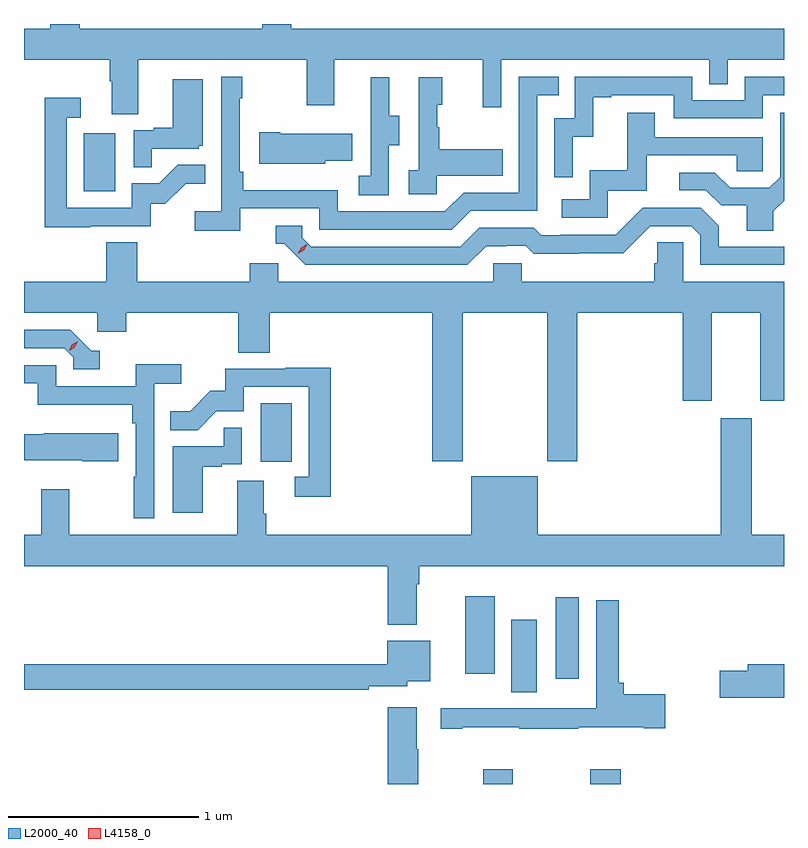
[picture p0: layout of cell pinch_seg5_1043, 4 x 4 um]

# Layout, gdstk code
import gdstk
lib = gdstk.Library(unit=1e-6, precision=1e-09)
def R(c, l, rs):  # rectangles x0, y0, x1, y1
    for r in rs: c.add(gdstk.rectangle(r[:2], r[2:], *l))
def P(c, l, *ps):  # polygons
    for p in ps: c.add(gdstk.Polygon(p, *l))
L2000_40 = (2000, 40)
L4158_0 = (4158, 0)

pinch_seg5_1043 = lib.new_cell('pinch_seg5_1043')
R(pinch_seg5_1043, L2000_40, [(870.496,863.605,870.651,863.683), (871.06,863.605,871.22,863.683), (870.644,864.088,870.778,864.469), (870.878,864.159,871,864.589), (870.401,864.186,870.556,864.592), (869.324,865.302,869.488,865.609), (868.394,866.724,868.558,867.031)])
P(pinch_seg5_1043, L2000_40, [(868.681,867.416),(869.566,867.416),(869.566,867.177),(869.713,867.177),(869.713,867.416),(870.494,867.416),(870.494,867.168),(870.591,867.168),(870.591,867.416),(871.686,867.416),(871.686,867.289),(871.782,867.289),(871.782,867.416),(872.079,867.416),(872.079,867.58),(869.486,867.58),(869.486,867.605),(869.333,867.605),(869.333,867.58),(868.373,867.58),(868.373,867.605),(868.217,867.605),(868.217,867.58),(868.079,867.58),(868.079,867.416),(868.529,867.416),(868.529,867.304),(868.541,867.304),(868.541,867.13),(868.681,867.13)],
  [(869.216,866.634),(869.634,866.634),(869.634,866.523),(870.331,866.523),(870.43,866.622),(870.78,866.622),(870.78,867.231),(870.893,867.231),(870.893,867.327),(870.684,867.327),(870.684,866.718),(870.393,866.718),(870.294,866.619),(869.73,866.619),(869.73,866.731),(869.234,866.731),(869.234,866.827),(869.214,866.827),(869.214,867.215),(869.227,867.215),(869.227,867.328),(869.118,867.328),(869.118,866.62),(868.977,866.62),(868.977,866.518),(869.216,866.518)],
  [(870.966,867.011),(871.076,867.011),(871.076,867.219),(871.171,867.219),(871.171,867.231),(871.5,867.231),(871.5,867.108),(871.968,867.108),(871.968,867.231),(872.079,867.231),(872.079,867.327),(871.872,867.327),(871.872,867.204),(871.596,867.204),(871.596,867.327),(870.978,867.327),(870.978,867.108),(870.87,867.108),(870.87,866.799),(870.966,866.799)],
  [(870,866.968),(870.055,866.968),(870.055,867.123),(870.001,867.123),(870.001,867.325),(869.903,867.325),(869.903,867.111),(869.904,867.111),(869.904,866.807),(869.841,866.807),(869.841,866.704),(870,866.704)],
  [(870.252,866.807),(870.599,866.807),(870.599,866.947),(870.265,866.947),(870.265,867.062),(870.255,867.062),(870.255,867.18),(870.28,867.18),(870.28,867.325),(870.156,867.325),(870.156,866.834),(870.105,866.834),(870.105,866.709),(870.252,866.709)],
  [(868.751,866.949),(868.998,866.949),(868.998,866.964),(869.02,866.964),(869.02,867.313),(868.862,867.313),(868.862,867.058),(868.763,867.058),(868.763,867.045),(868.656,867.045),(868.656,866.851),(868.751,866.851)],
  [(868.427,866.541),(868.746,866.541),(868.746,866.658),(868.822,866.658),(868.929,866.765),(869.033,866.765),(869.033,866.864),(868.889,866.864),(868.791,866.766),(868.647,866.766),(868.647,866.637),(868.305,866.637),(868.305,867.111),(868.378,867.111),(868.378,867.217),(868.189,867.217),(868.189,866.536),(868.427,866.536)],
  [(871.152,866.727),(871.357,866.727),(871.357,866.913),(871.831,866.913),(871.831,866.829),(871.968,866.829),(871.968,867.009),(871.399,867.009),(871.399,867.139),(871.255,867.139),(871.255,866.836),(871.056,866.836),(871.056,866.682),(870.909,866.682),(870.909,866.586),(871.152,866.586)],
  [(872.023,866.62),(872.079,866.676),(872.079,867.139),(872.058,867.139),(872.058,866.799),(872.001,866.742),(871.795,866.742),(871.714,866.823),(871.527,866.823),(871.527,866.73),(871.668,866.73),(871.748,866.65),(871.883,866.65),(871.883,866.518),(872.023,866.518)],
  [(869.664,866.885),(869.807,866.885),(869.807,867.028),(869.428,867.028),(869.428,867.036),(869.316,867.036),(869.316,866.87),(869.664,866.87)],
  [(870.511,866.436),(870.618,866.436),(870.618,866.439),(870.721,866.439),(870.763,866.397),(870.996,866.397),(870.996,866.399),(871.232,866.399),(871.374,866.541),(871.59,866.541),(871.638,866.493),(871.638,866.337),(872.079,866.337),(872.079,866.433),(871.735,866.433),(871.735,866.543),(871.641,866.637),(871.335,866.637),(871.194,866.496),(870.901,866.496),(870.901,866.493),(870.802,866.493),(870.763,866.532),(870.474,866.532),(870.375,866.433),(869.592,866.433),(869.544,866.481),(869.544,866.544),(869.405,866.544),(869.405,866.448),(869.448,866.448),(869.559,866.337),(870.412,866.337)],
  [(870.387,866.084),(870.832,866.084),(870.832,865.305),(870.992,865.305),(870.992,866.084),(871.547,866.084),(871.547,865.623),(871.699,865.623),(871.699,866.084),(871.955,866.084),(871.955,865.623),(872.079,865.623),(872.079,866.248),(871.548,866.248),(871.548,866.456),(871.411,866.456),(871.411,866.346),(871.397,866.346),(871.397,866.248),(870.699,866.248),(870.699,866.346),(870.549,866.346),(870.549,866.248),(869.418,866.248),(869.418,866.346),(869.267,866.346),(869.267,866.248),(868.676,866.248),(868.676,866.456),(868.511,866.456),(868.511,866.248),(868.079,866.248),(868.079,866.084),(868.464,866.084),(868.464,865.986),(868.616,865.986),(868.616,866.084),(869.207,866.084),(869.207,865.876),(869.372,865.876),(869.372,866.084),(870.227,866.084),(870.227,865.305),(870.387,865.305)],
  [(868.477,865.884),(868.434,865.884),(868.323,865.995),(868.079,865.995),(868.079,865.899),(868.29,865.899),(868.338,865.851),(868.338,865.788),(868.477,865.788)],
  [(868.764,865.712),(868.906,865.712),(868.906,865.814),(868.667,865.814),(868.667,865.698),(868.248,865.698),(868.248,865.809),(868.079,865.809),(868.079,865.713),(868.152,865.713),(868.152,865.601),(868.648,865.601),(868.648,865.505),(868.668,865.505),(868.668,865.223),(868.656,865.223),(868.656,865.005),(868.764,865.005)],
  [(869.693,865.796),(869.455,865.796),(869.455,865.791),(869.137,865.791),(869.137,865.674),(869.06,865.674),(868.953,865.567),(868.849,865.567),(868.849,865.468),(868.993,865.468),(869.091,865.566),(869.235,865.566),(869.235,865.695),(869.577,865.695),(869.577,865.221),(869.505,865.221),(869.505,865.116),(869.693,865.116)],
  [(870.145,864.656),(870.158,864.656),(870.158,864.752),(872.079,864.752),(872.079,864.916),(871.909,864.916),(871.909,865.531),(871.745,865.531),(871.745,864.916),(870.784,864.916),(870.784,865.225),(870.434,865.225),(870.434,864.916),(869.354,864.916),(869.354,865.028),(869.341,865.028),(869.341,865.202),(869.201,865.202),(869.201,864.916),(868.317,864.916),(868.317,865.156),(868.169,865.156),(868.169,864.916),(868.079,864.916),(868.079,864.752),(869.993,864.752),(869.993,864.443),(870.145,864.443)],
  [(869.02,865.275),(869.12,865.275),(869.12,865.287),(869.226,865.287),(869.226,865.481),(869.131,865.481),(869.131,865.383),(868.862,865.383),(868.862,865.032),(869.02,865.032)],
  [(868.576,865.45),(868.183,865.45),(868.183,865.447),(868.079,865.447),(868.079,865.31),(868.385,865.31),(868.385,865.303),(868.576,865.303)],
  [(870.385,863.905),(870.685,863.905),(870.685,863.895),(870.995,863.895),(870.995,863.905),(871.34,863.905),(871.34,863.899),(871.453,863.899),(871.453,864.077),(871.235,864.077),(871.235,864.139),(871.208,864.139),(871.208,864.571),(871.092,864.571),(871.092,864.004),(870.882,864.004),(870.882,864.003),(870.548,864.003),(870.548,864.005),(870.273,864.005),(870.273,863.895),(870.385,863.895)],
  [(869.894,864.12),(870.096,864.12),(870.096,864.146),(870.217,864.146),(870.217,864.358),(869.99,864.358),(869.99,864.236),(868.079,864.236),(868.079,864.1),(869.894,864.1)],
  [(872.079,864.236),(871.889,864.236),(871.889,864.2),(871.74,864.2),(871.74,864.058),(872.079,864.058)],
  [(870.153,863.789),(870.145,863.789),(870.145,864.01),(869.993,864.01),(869.993,863.605),(870.153,863.605)])
P(pinch_seg5_1043, L4158_0, [(869.521,866.395),(869.521,866.395),(869.537,866.428),(869.568,866.446),(869.569,866.446),(869.569,866.446),(869.552,866.414),(869.521,866.395)],
  [(868.316,865.884),(868.316,865.884),(868.331,865.916),(868.362,865.936),(868.362,865.936),(868.362,865.936),(868.346,865.903),(868.316,865.884)])

lib.write_gds('pinch_seg5_1043.gds')
